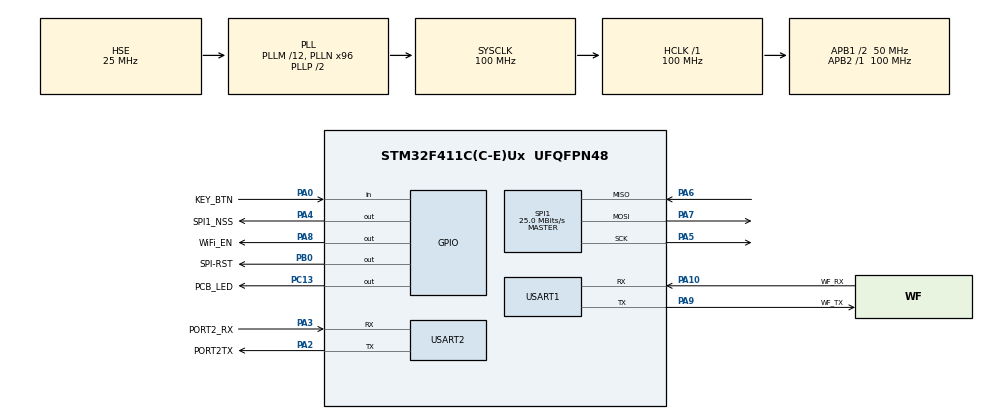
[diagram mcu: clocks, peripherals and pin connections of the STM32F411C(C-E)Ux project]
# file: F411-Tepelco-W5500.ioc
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Mcu.Family=STM32F4
Mcu.Name=STM32F411C(C-E)Ux
Mcu.Package=UFQFPN48
NVIC.PriorityGroup=NVIC_PRIORITYGROUP_4
NVIC.TIM2_IRQn=true\:0\:0\:false\:false\:true\:true\:true\:true
NVIC.USART1_IRQn=true\:0\:0\:false\:false\:true\:true\:true\:true
NVIC.USART2_IRQn=true\:0\:0\:false\:false\:true\:true\:true\:true
PA0-WKUP.GPIO_Label=KEY_BTN
PA0-WKUP.Signal=GPIO_Input
PA10.GPIO_Label=WF_RX
PA10.Mode=Asynchronous
PA10.Signal=USART1_RX
PA13.Mode=Trace_Asynchronous_SW
PA13.Signal=SYS_JTMS-SWDIO
PA14.Mode=Trace_Asynchronous_SW
PA14.Signal=SYS_JTCK-SWCLK
PA2.GPIO_Label=PORT2TX
PA2.Mode=Asynchronous
PA2.Signal=USART2_TX
PA3.GPIO_Label=PORT2_RX
PA3.Mode=Asynchronous
PA3.Signal=USART2_RX
PA4.GPIO_Label=SPI1_NSS
PA4.GPIO_Speed=GPIO_SPEED_FREQ_VERY_HIGH
PA4.PinState=GPIO_PIN_SET
PA4.Signal=GPIO_Output
PA5.Mode=Full_Duplex_Master
PA5.Signal=SPI1_SCK
PA6.Mode=Full_Duplex_Master
PA6.Signal=SPI1_MISO
PA7.Mode=Full_Duplex_Master
PA7.Signal=SPI1_MOSI
PA8.GPIO_Label=WiFi_EN
PA8.PinState=GPIO_PIN_SET
PA8.Signal=GPIO_Output
PA9.GPIO_Label=WF_TX
PA9.Mode=Asynchronous
PA9.Signal=USART1_TX
PB0.GPIO_Label=SPI-RST
PB0.GPIO_Speed=GPIO_SPEED_FREQ_VERY_HIGH
PB0.PinState=GPIO_PIN_SET
PB0.Signal=GPIO_Output
PB3.Mode=Trace_Asynchronous_SW
PB3.Signal=SYS_JTDO-SWO
PC13-ANTI_TAMP.GPIO_Label=PCB_LED
PC13-ANTI_TAMP.GPIO_ModeDefaultOutputPP=GPIO_MODE_OUTPUT_PP
PC13-ANTI_TAMP.GPIO_PuPd=GPIO_NOPULL
PC13-ANTI_TAMP.PinState=GPIO_PIN_RESET
PC13-ANTI_TAMP.Signal=GPIO_Output
PC14-OSC32_IN.Mode=LSE-External-Oscillator
PC14-OSC32_IN.Signal=RCC_OSC32_IN
PC15-OSC32_OUT.Mode=LSE-External-Oscillator
PC15-OSC32_OUT.Signal=RCC_OSC32_OUT
PH0\ -\ OSC_IN.Mode=HSE-External-Oscillator
PH0\ -\ OSC_IN.Signal=RCC_OSC_IN
PH1\ -\ OSC_OUT.Mode=HSE-External-Oscillator
PH1\ -\ OSC_OUT.Signal=RCC_OSC_OUT
ProjectManager.HeapSize=0x200
ProjectManager.StackSize=0x400
ProjectManager.TargetToolchain=STM32CubeIDE
RCC.48MHZClocksFreq_Value=50000000
RCC.AHBFreq_Value=100000000
RCC.APB1CLKDivider=RCC_HCLK_DIV2
RCC.APB1Freq_Value=50000000
RCC.APB1TimFreq_Value=100000000
RCC.APB2Freq_Value=100000000
RCC.APB2TimFreq_Value=100000000
RCC.CortexFreq_Value=100000000
RCC.HCLKFreq_Value=100000000
RCC.HSE_VALUE=25000000
RCC.HSI_VALUE=16000000
RCC.PLLM=12
RCC.PLLN=96
RCC.PLLSourceVirtual=RCC_PLLSOURCE_HSE
RCC.SYSCLKFreq_VALUE=100000000
RCC.SYSCLKSource=RCC_SYSCLKSOURCE_PLLCLK
RCC.VCOOutputFreq_Value=200000000
SPI1.BaudRatePrescaler=SPI_BAUDRATEPRESCALER_4
SPI1.CalculateBaudRate=25.0 MBits/s
SPI1.Direction=SPI_DIRECTION_2LINES
SPI1.Mode=SPI_MODE_MASTER
SPI1.VirtualType=VM_MASTER
TIM2.AutoReloadPreload=TIM_AUTORELOAD_PRELOAD_ENABLE
TIM2.Channel-Output\ Compare1\ No\ Output=TIM_CHANNEL_1
TIM2.OCMode_1=TIM_OCMODE_INACTIVE
TIM2.Period=100
TIM2.Prescaler=100
USART1.VirtualMode=VM_ASYNC
USART2.VirtualMode=VM_ASYNC
VP_TIM2_VS_ClockSourceINT.Mode=Internal
VP_TIM2_VS_OPM.Mode=OPM_bit
VP_TIM2_VS_no_output1.Mode=Output Compare1 No Output
board=custom

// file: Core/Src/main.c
/* USER CODE BEGIN Header */
/**
  ******************************************************************************
  * @file           : main.c
  * @brief          : Main program body
  ******************************************************************************
  * @attention
  *
  * Copyright (c) 2022 STMicroelectronics.
  * All rights reserved.
  *
  * This software is licensed under terms that can be found in the LICENSE file
  * in the root directory of this software component.
  * If no LICENSE file comes with this software, it is provided AS-IS.
  *
  ******************************************************************************
  */
/* USER CODE END Header */
#include "main.h"

/* USER CODE BEGIN Includes */

#include "ESP8266_Chelo.h"
#include "ModBUS_Chelo.h"
#include "STR_Chelo.h"
#include "ETH_W5500.h"
#include "string.h"
#include "stdio.h"
#include "http.h"

/* USER CODE END Includes */

/* USER CODE BEGIN PTD */
#define TOK 1
#define FIND 0
#define SERVIDOR 1
#define CLIENTE 0
/* USER CODE END PTD */

/* USER CODE BEGIN PM */
#define ITM_Port32(n)   (*((volatile unsigned long *)(0xE0000000+4*n)))
/* USER CODE END PM */

SPI_HandleTypeDef hspi1;

TIM_HandleTypeDef htim2;

UART_HandleTypeDef huart1;
UART_HandleTypeDef huart2;

/* USER CODE BEGIN PV */
uint32_t ms_ticks=0,
		 min_ticks=0;

struct W5500_SPI ETH; 		// Instancia de la comunicación Ethernet
struct W5500_SPY ETH_SPY; 	// Instancia de la comunicación Ethernet
struct WIFI wf;				// Instancia WiFi
struct MBUS mb_eth;			// Instancia Ethernet
struct MBUS mb_wf;			// Instancia Wi-Fi
//struct LoRa lr;				// Instancia LoRa
uint8_t error=0;

char post[512];
char body[512];
char ENDPOINT[]="/logdata",
     SERVER_IP[]="192.168.0.24",
     PORT[]="8000";

uint8_t ETH_DBG_EN=0,ETH_DBG_SER_EN=1;
uint8_t WF_SND_FLAG=0;
int wf_snd_flag_ticks=0;

uint32_t REG[254];			//Registros para ver ModBUS

// ****** Begin Firmware Registers ****** //

uint16_t W5500_socket0_STATUS ;

// ****** End Firmware Registers ****** //

// ****** Begin Socket Memory assignment ****** //
uint16_t 	S0_get_size = 0,
			S0_get_offset = 0,
			S0_RX_RD = 0,
			S0_get_start_address = 0,
			tx_mem_pointer=0,
			rx_mem_pointer=0,
			destination_addr=0,
			left_size=0,
			upper_size=0,
			S0_READ_RX_RD=0,
			S0_bf_rcv_offset=0,

			Sn_TX_WR=0,
			get_offset=0,
			get_free_size=0,
			get_start_address=0,
			source_addr=0,
			send_size=0,
			datos[]={1010,2010,3010,4010,5010,6010,7010,8010,9010,10010,11010,12010,13010,14010,15010,16010};

// ****** End Socket Memory assignment ****** //
uint8_t spi_Data[64],
		spi_no_debug=0,
		_w_answer=0,
		pos_decimal[16];

uint8_t ESP_REinit=0,			//Conteo de intentos de incializacion
		ESP_InitF=0,			//Flag de error por no encontrar la sentencia
		ESP_HW_Init=0,
		EN_UART1_TMR=0,
		EN_UART2_TMR=0,
		EN_USART1_TMR=0,
		FLAG_TIMEOUT=0,
		FLAG_UART1=0,
		FLAG_UART2=0,
		eth_reset=0,
		resultado=0,
		error_rxdata=0,
		debug_ser=1,
		esp_restart=0,
		conexion,
		asc=0,

		//--------debug----//
		CP_ready=0,
		CP_ai=0;
		SPI_READ_EN=0;

char	UART_RX_vect[512],
		UART2_RX_vect[512],
		datarx_uart1[512],
		datarx1[2],
		UART_RX_vect_hld[512],
		UART2_RX_vect_hld[512],
		WIFI_NET[]="vodafoneC868",//WIFI_NET[]="Fibertel WiFi967 2.4GHz",//WIFI_NET[]="PLC_DEV",//
		WIFI_PASS[]="21_09_24_bcn",//WIFI_PASS[]="0042880756",//WIFI_PASS[]="12345678",//
		TCP_SERVER[]="192.168.0.24",//TCP_SERVER[]="192.168.0.65",//TCP_SERVER[]="192.168.0.102",//TCP_SERVER[]="192.168.0.47",
		TCP_PORT[]="8000",//TCP_PORT[]="502",
		TCP_SERVER_LOCAL[]="192.168.0.43",//TCP_SERVER_LOCAL[]="192.168.0.33",//TCP_SERVER[]="192.168.0.47",
		TCP_SERVER_LOCAL_GWY[]="192.168.0.99",//TCP_SERVER[]="192.168.0.47",
		TCP_SERVER_LOCAL_MSK[]="255.255.255.0",//TCP_SERVER[]="192.168.0.47",
		TCP_PORT_LOCAL[]="502",
		RX2[]="RX.",
		//RX[512],
		CMP_VECT[]="\0",
	    TESTA[32],
		TESTB[32],
		TESTC[32],
		UART_RX_byte[2];
		UART2_RX_byte[2];

int UART_RX_items=0,
	UART2_RX_items=0,
    ESP_ticks=0,
	MBUS_ticks=0,
	MB_TOUT_ticks=0,
	items_rx_debug=0,
    ticks=0,
	ntesta=17,
	ntestb=4,
	ntestc=0,
	postesta=0,
	funcion=0,
	uart1pass=0,
	USART1_ticks=0,
	FLAG_USART1=0,
	chr_pos=0,
	items_rx=0,
	ESPstate=0,
	UART_RX_pos=0;
	UART2_RX_pos=0;

long dbgn=0;

enum {
	TEPELCO,
	TEST_1,
	TEST_2
};
/* USER CODE END PV */

void SystemClock_Config(void);
static void MX_GPIO_Init(void);
static void MX_SPI1_Init(void);
static void MX_TIM2_Init(void);
static void MX_USART1_UART_Init(void);
static void MX_USART2_UART_Init(void);
/* USER CODE BEGIN PFP */
uint8_t ESP8266_HW_Init(UART_HandleTypeDef *);
void Actualizar_RXdata(int );
void BorrarVect(void);
/* USER CODE END PFP */

int main(void)
{
  /* USER CODE BEGIN 1 */
	//----------------------- ETHERNET W5500 Environment-------------------------//
	//	GATEWAY ADDRESS
		ETH.GAR[0]=192;
		ETH.GAR[1]=168;
		ETH.GAR[2]=0;
		ETH.GAR[3]=1;
	//	SUBNET MASK
		ETH.SUBR[0]=255;
		ETH.SUBR[1]=255;
		ETH.SUBR[2]=255;
		ETH.SUBR[3]=0;
	//	MAC ADDRESS
		ETH.SHAR[0]=0x00;
		ETH.SHAR[1]=0x08;
		ETH.SHAR[2]=0xDC;
		ETH.SHAR[3]=0x00;
		ETH.SHAR[4]=0xC0;
		ETH.SHAR[5]=0x03;

	//	IP ADDRESS
		ETH.SIPR[0]=192;
		ETH.SIPR[1]=168;
		ETH.SIPR[2]=0;
		ETH.SIPR[3]=34,//ETH.SIPR[3]=34,
	//  Socket RX memory
		ETH.RMSR=0x55;
	//  Socket TX memory
		ETH.TMSR=0x55;
	//  S0 Port Number
		ETH.S_PORT[0]=0x01; //01
		ETH.S_PORT[1]=0xF6; //f6
	//	S0 Client IP ADDRESS
		ETH.S_DIPR[0]=192;
		ETH.S_DIPR[1]=168;
		ETH.S_DIPR[2]=0;
		ETH.S_DIPR[3]=3;
	//	S0 Client IP ADDRESS
		ETH.S_DPORT[0]=0x01;
		ETH.S_DPORT[1]=0xF6;

		ETH.gS_RX_BASE = 0x0000;
		ETH.gS_RX_MASK = 0x07FF;
		ETH.gS1_RX_BASE = 0x6800;
		ETH.gS1_RX_MASK = 0x07FF;
		ETH.gS2_RX_BASE = 0x7000;
		ETH.gS2_RX_MASK = 0x07FF;
		ETH.gS3_RX_BASE = 0x7800;
		ETH.gS3_RX_MASK = 0x07FF;
		ETH.gS_TX_BASE = 0x0000;
		ETH.gS_TX_MASK = 0x07FF;
		ETH.gS1_TX_BASE = 0x4800;
		ETH.gS1_TX_MASK = 0x07FF;
		ETH.gS2_TX_BASE = 0x5000;
		ETH.gS2_TX_MASK = 0x07FF;
		ETH.gS3_TX_BASE = 0x5800;
		ETH.gS3_TX_MASK = 0x07FF;

		ETH.S_ENserver = 0;			//Actúa como servidor S0_ENserver=1 o cliente S0_ENserver=0

		spi_no_debug=1;
		ETH.NSS_PORT=GPIOA;
		ETH.NSS_PIN=GPIO_PIN_4;
		ETH.RST_PORT=GPIOB;
		ETH.RST_PIN=GPIO_PIN_0;
		ETH.SPI= &hspi1;
	  //----------------------- ETHERNET W5500 Environment-------------------------//
	  //----------------------- WIFI ------------------------//
 	  	Inicializar(&wf); 									//Borra todos los registros de la estructura
		strcpy(wf._WF_Net, WIFI_NET);						//Nombre de la red WIFI  a conectar Fibertel WiFi967 2.4GHz
		strcpy(wf._WF_Pass, WIFI_PASS);						//Password de la red WIFI
		strcpy(wf._TCP_Remote_Server_IP, TCP_SERVER);		//char _TCP_Remote_Server_IP[16];		//IP del Servidor TCP
		strcpy(wf._TCP_Remote_Server_Port, TCP_PORT);		//char _TCP_Remote_Server_Port[16];			//Puerto del Servidor TCP
		strcpy(wf._TCP_Local_Server_IP, TCP_SERVER_LOCAL);
		strcpy(wf._TCP_Local_Server_GWY, TCP_SERVER_LOCAL_GWY);
		strcpy(wf._TCP_Local_Server_MSK, TCP_SERVER_LOCAL_MSK);
		strcpy(wf._TCP_Local_Server_Port, TCP_PORT_LOCAL);
		wf._TCP_Local_Server_EN=0;							//Habilito el Servidor Local
		wf._data2SND[0]=0x00;//strcpy(wf._data2SND,"01;03;00;00;00;0A;C5;CD");//strcpy(wf._data2SND,"20;352;52#");
		wf._data2SND[1]=0x00;
		wf._data2SND[2]=0x00;
		wf._data2SND[3]=0x00;
		wf._data2SND[4]=0x00;
		wf._data2SND[5]=0x06;
		wf._data2SND[6]=0x01;
		wf._data2SND[7]=0x03;
		wf._data2SND[8]=0x00;//strcpy(wf._data2SND,"01;03;00;00;00;0A;C5;CD");//strcpy(wf._data2SND,"20;352;52#");
		wf._data2SND[9]=0x00;
		wf._data2SND[10]=0x00;
		wf._data2SND[11]=0x0A;
		wf._data2SND[12]=0x00;
		wf._data2SND[13]=0x33;
		wf._data2SND[14]=0x34;
		wf._data2SND[15]=0x35;
		wf._n_D2SND=12;
		wf._estado_conexion=100;//Si no se define no arranca	//wf._estado_conexion=1;					//Arranco en WiFi Desconectado
		wf._automatizacion=WF_CONNECT_TCP;//wf._automatizacion=WF_SEND;
		wf._DBG_EN=1;
		wf._NO_IP=1;
		wf.RESET_PORT=GPIOA;
		wf.RESET_PIN=GPIO_PIN_8;
	 //----------------------- WIFI ------------------------//

	 //---------------------- ModBUS -----------------------//
		ModBUS_Config(&mb_eth);		//ETHERNET como cliente TCP envía  ModBUS
		mb_eth._mode = CLIENTE;
		ModBUS_Config(&mb_wf);		//WIFI como servidor TCP, recibe comadno ModBUS
		mb_wf._mode = CLIENTE;
		ModBUS_F03_Assign(&mb_wf,3,0xAA55);
		pos_decimal[0]=1;
		pos_decimal[1]=1;
		pos_decimal[2]=1;
		pos_decimal[3]=1;
		pos_decimal[4]=1;
		pos_decimal[5]=1;
		pos_decimal[6]=1;
		pos_decimal[7]=1;
		pos_decimal[8]=1;
		pos_decimal[9]=1;
		pos_decimal[10]=1;
		pos_decimal[11]=1;
		pos_decimal[12]=1;
		pos_decimal[13]=1;
		pos_decimal[14]=1;
		pos_decimal[15]=1;

	 //---------------------- ModBUS -----------------------//
  /* USER CODE END 1 */

  /* MCU Configuration--------------------------------------------------------*/

  /* Reset of all peripherals, Initializes the Flash interface and the Systick. */
  HAL_Init();

  /* Configure the system clock */
  SystemClock_Config();

  /* USER CODE BEGIN SysInit */
  SysTick_Config(SystemCoreClock/1000);
  /* USER CODE END SysInit */

  /* Initialize all configured peripherals */
  MX_GPIO_Init();
  MX_SPI1_Init();
  MX_TIM2_Init();
  MX_USART1_UART_Init();
  MX_USART2_UART_Init();
  /* USER CODE BEGIN 2 */

     ITM0_Write("\r\n INICIO OK\r\n",strlen("\r\n INICIO OK\r\n"));
     HAL_UART_Transmit_IT(&huart2,"\r\n INICIO OK \r\n",strlen("\r\n INICIO OK \r\n"));
	 HW_RESET(&wf);
	 if (wf._DBG_EN) ITM0_Write("\r\n RESET ESP8266 \r\n",strlen("\r\n RESET ESP8266 \r\n"));
	 HAL_UART_Receive_IT(&huart1,(uint8_t *)UART_RX_byte,1);
	 if (ETH_DBG_EN)ITM0_Write("\r\n SET-UP W5500 \r\n",strlen("\r\n SET-UP W5500 \r\n"));

     SPI_ETH_PHY_RESET(&ETH);
     HAL_Delay(800);
     eth_init(&ETH);
     SPI_ETH_SNIFF(&ETH_SPY, &ETH);
     HAL_Delay(800);
   	 eth_socket_init(&ETH,S0_REG);
   	 SPI_ETH_SNIFF(&ETH_SPY, &ETH);
	 uint16_t b=0;
	 uint8_t spi_Data[2];
	 b = SPI_ETH_REG(&ETH, S_TX_WR, S0_REG ,SPI_READ, spi_Data,2);
	 eth_wr_SOCKET_MODE(&ETH,S0_REG,MODE_TCP);
   	 SPI_ETH_REG(&ETH, S_DIPR, S0_REG,SPI_WRITE, ETH.S_DIPR,4);									// client
   	 ITM0_Write("\r\nETH-W5500-SOCK0 TCP REMOTE PORT TO CONNECT\r\n",strlen("\r\nETH-W5500-SOCK0 TCP REMOTE PORT TO CONNECT\r\n"));									// client
   	 SPI_ETH_REG(&ETH, S_DPORT, S0_REG,SPI_WRITE, ETH.S_DPORT,2);									// client
   	 ITM0_Write("\r\nETH-W5500-SOCK0 TCP PORT SET\r\n",strlen("\r\nETH-W5500-SOCK0 TCP PORT SET\r\n"));						//same for server and client
   	 SPI_ETH_SNIFF(&ETH_SPY, &ETH);
   	 eth_wr_SOCKET_CMD(&ETH, S0_REG,OPEN );

   	 HAL_Delay(1000);
   	 SPI_ETH_SNIFF(&ETH_SPY, &ETH);

	 //SPI_READ_EN=1;
   	 //------------------------ RUN ESP -----------------------------------//
     if(ESP8266_HW_Init(&huart1)==1)
     {
		  ESP_HW_Init=1;
		  if (wf._DBG_EN) ITM0_Write("\r\n ESP HW Init OK\r\n",strlen("\r\n ESP HW Init OK\r\n"));
		  HAL_UART_Transmit_IT(&huart2,"\r\n ESP HW Init OK\r\n",strlen("\r\n ESP HW Init OK\r\n"));
     }
     else
     {

    	 HW_RESET(&wf);
		 ESP_REinit=0;
			  if(ESP8266_HW_Init(&huart1)==1)
				  {
					  ESP_HW_Init=1;
					  if (wf._DBG_EN) ITM0_Write("\r\n ESP HW Init OK\r\n",strlen("\r\n ESP HW Init OK\r\n"));
					  HAL_UART_Transmit_IT(&huart2,"\r\n ESP HW Init2 OK\r\n",strlen("\r\n ESP HW Init2 OK\r\n"));
				  }
				  else
				  {
					  ESP_HW_Init=0;
					  if (wf._DBG_EN)  ITM0_Write("\r\n ESP HW Init Fail\r\n",strlen("\r\n ESP HW Init Fail\r\n"));
					  HAL_UART_Transmit_IT(&huart2,"\r\n ESP HW Fail\r\n",strlen("\r\n ESP HW Fail\r\n"));
				  }
     }
     //------------------------ RUN ESP -----------------------------------//

     HAL_Delay(1000);
  /* USER CODE END 2 */

  /* Infinite loop */
  while (1)
  {

    /* USER CODE BEGIN 3 */
		 SPI_READ_EN=1;
		  //----------------INSTRUCCIONS POR PUERTO SERIE---------------------

		  //----------------INSTRUCCIONS POR PUERTO SERIE---------------------

		  /**************[ INICIO PIDO ENVIAR DATOS ]**************/

		  	  if (ESP_HW_Init==1)
		  	  {
		  			if((WF_SND_FLAG==1)&&(wf._TCP_Local_Server_EN==0)&&(wf._estado_conexion>=609)&&(ETH.S_data_available))
		  			{	ETH.S_data_available=0;
		  				wf_snd_flag_ticks=0;
		  				WF_SND_FLAG=0;
		  				HAL_UART_Transmit_IT(&huart2,"\r\n ENTER TO SEND DATA \r\n",strlen("\r\n ENTER TO SEND DATA \r\n"));
		  				HAL_GPIO_TogglePin(GPIOC, GPIO_PIN_13);
		  				ITM0_Write("\r\n#RED#WF-SE GENERA INFO Y ENVIA\r\n",strlen("\r\n#RED#WF-SE GENERA INFO Y ENVIA\r\n"));

		  				for(uint8_t i=0;i<=16;i++)
		  				{
		  					datos[i]=ModBUS_F03_Read(&mb_eth,i);
		  				}

		  				if(httpPOST2(ENDPOINT, SERVER_IP,PORT,&datos,&pos_decimal,16,TEST_2,post, body, 512))
		  				{
  							CopiaVector(wf._data2SND,post,strlen(post),0,'A');
  							wf._n_D2SND=strlen(post);
  							if(wf._automatizacion < WF_SEND)		// Send only with automation sent diasabled
  							{
  								EnviarDatos(&wf);
  								wf._estado_conexion=TCP_SND_EN_CURSO;
  							}
		  				}

		  				/*if( httpPOST(	ENDPOINT, SERVER_IP,PORT,
		  								ModBUS_F03_Read(&mb_eth,0),
		  								ModBUS_F03_Read(&mb_eth,1),
		  								ModBUS_F03_Read(&mb_eth,2),
		  								ModBUS_F03_Read(&mb_eth,3),
		  								ModBUS_F03_Read(&mb_eth,4),
		  								ModBUS_F03_Read(&mb_eth,5),
		  								ModBUS_F03_Read(&mb_eth,6),
		  								ModBUS_F03_Read(&mb_eth,7),
		  								ModBUS_F03_Read(&mb_eth,8),
										ModBUS_F03_Read(&mb_eth,9),
										TEST_2,//ModBUS_F03_Read(&mb_eth,9),TEPELCO,
		  								post, body, 512))

		  				{
		  							CopiaVector(wf._data2SND,post,strlen(post),0,'A');
		  							wf._n_D2SND=strlen(post);
		  							if(wf._automatizacion < WF_SEND)		// Send only with automation sent diasabled
		  							{
		  								EnviarDatos(&wf);
		  								wf._estado_conexion=TCP_SND_EN_CURSO;
		  							}
		  				}*/
		  			}
		  	  }
		  /**************[ FIN PIDO ENVIAR DATOS ]**************/

		  		if ((FLAG_UART1==1)||(FLAG_TIMEOUT==1))  //Si recibí datos o me fui por TimeOUT
		  		{
		  			if(FLAG_UART1==1)
		  				{
		  					CopiaVector(wf._uartRCVD,UART_RX_vect_hld,UART_RX_items,1,CMP_VECT);
		  					FLAG_UART1=0;

		  						if (error_rxdata==3)
		  						{
		  							error_rxdata=0;
		  						}
		  						if (error_rxdata==1)
		  						{
		  							error_rxdata=5;
		  							error_rxdata=0;
		  						}
		  				}
		  			if(FLAG_TIMEOUT==1)
		  					{
		  						FLAG_TIMEOUT=0;
		  					}

		  			if (ESP_HW_Init==1) //Si el módulo se inició correctamente
		  				{
		  					/*************** Copio y proceso info recibida ***************/
		  					wf._n_orig=UART_RX_items;
		  					CopiaVector(wf._uartRCVD,UART_RX_vect_hld,UART_RX_items,1,CMP_VECT);
		  					resultado=AT_ESP8266_ND(&wf);

		  					/*************** Si recibo datos y estan correctos me fijo que son ***************/

		  					if ((wf._new_data_rcv==1)&&(wf._estado_rcv_data==99))
		  					{

		  						CopiaVector(mb_wf._MBUS_RCVD,wf._dataRCV,wf._n_dataRCV,0,'A');
		  						mb_wf._n_MBUS_RCVD=wf._n_dataRCV;

		  						ModBUS(&mb_wf);

		  						CopiaVector(wf._data2SND,mb_wf._MBUS_2SND,mb_wf._n_MBUS_2SND,0,'A');
		  						wf._n_D2SND=mb_wf._n_MBUS_2SND;
		  						wf._new_data_rcv=0;//
		  						wf._send_data=1;
		  					}else
		  						{
		  							// DATA ERRONEA NO SE PROCESA
		  						}
		  					}

		  		}

		  		if (ESP_HW_Init==1) //Si el módulo se inició correctamente
		  			{
		  				conexion=WiFi_Conn_ND(&wf,&huart1,1);	//Tiene que ir en el main el chequeo es constante

		  			}
		  		if (esp_restart==1) //WRNNG Hardcoded RESET WIFI
		  			{

		  				HAL_UART_Transmit_IT(&huart2,"\r\n ESP HW Resetting \r\n",strlen("\r\n ESP HW Resetting \r\n"));
		  				HW_RESET(&wf);
		  				HAL_Delay(5000);//210419
		  				esp_restart=0;
		  			}
		  		if(eth_reset==1)
		  		{

		  		  SPI_ETH_PHY_RESET(&ETH);
		  		  HAL_UART_Transmit_IT(&huart2,"\r\n PHY RESET \r\n",strlen("\r\n PHY RESET \r\n"));
		  	      HAL_Delay(800);
		  	      eth_init(&ETH);
		  	      HAL_UART_Transmit_IT(&huart2,"\r\n ETH INIT \r\n",strlen("\r\n ETH INIT \r\n"));
		  	      SPI_ETH_SNIFF(&ETH_SPY, &ETH);
		  	      HAL_Delay(800);
		  	   	  eth_socket_init(&ETH,S0_REG);
		  	   	  HAL_UART_Transmit_IT(&huart2,"\r\n ETH SOCKET INIT \r\n",strlen("\r\n ETH SOCKET INIT \r\n"));

		  		 uint16_t b=0;
		  		 uint8_t spi_Data[2];
		  		 b = SPI_ETH_REG(&ETH, S_TX_WR, S0_REG ,SPI_READ, spi_Data,2);

		  		 eth_wr_SOCKET_MODE(&ETH,S0_REG,MODE_TCP);
		  	   	 SPI_ETH_REG(&ETH, S_DIPR, S0_REG,SPI_WRITE, ETH.S_DIPR,4);									// client
		  	   	 ITM0_Write("\r\nETH-W5500-SOCK0 TCP REMOTE PORT TO CONNECT\r\n",strlen("\r\nETH-W5500-SOCK0 TCP REMOTE PORT TO CONNECT\r\n"));									// client
		  	   	 SPI_ETH_REG(&ETH, S_DPORT, S0_REG,SPI_WRITE, ETH.S_DPORT,2);									// client
		  	   	 ITM0_Write("\r\nETH-W5500-SOCK0 TCP PORT SET\r\n",strlen("\r\nETH-W5500-SOCK0 TCP PORT SET\r\n"));						//same for server and client

		  	   	 HAL_Delay(800);
		  	   	  eth_wr_SOCKET_CMD(&ETH, S0_REG ,OPEN );
		  	   	  HAL_UART_Transmit_IT(&huart2,"\r\n ETH OPEN \r\n",strlen("\r\n ETH OPEN \r\n"));
		  	   	  ETH.ETH_WDG=0;
		  	   	  eth_reset=0;
		  		}

	  }

  /* USER CODE END 3 */
}

void SystemClock_Config(void)
{
  RCC_OscInitTypeDef RCC_OscInitStruct = {0};
  RCC_ClkInitTypeDef RCC_ClkInitStruct = {0};

  /** Configure the main internal regulator output voltage
  */
  __HAL_RCC_PWR_CLK_ENABLE();
  __HAL_PWR_VOLTAGESCALING_CONFIG(PWR_REGULATOR_VOLTAGE_SCALE1);

  /** Initializes the RCC Oscillators according to the specified parameters
  * in the RCC_OscInitTypeDef structure.
  */
  RCC_OscInitStruct.OscillatorType = RCC_OSCILLATORTYPE_HSE;
  RCC_OscInitStruct.HSEState = RCC_HSE_ON;
  RCC_OscInitStruct.PLL.PLLState = RCC_PLL_ON;
  RCC_OscInitStruct.PLL.PLLSource = RCC_PLLSOURCE_HSE;
  RCC_OscInitStruct.PLL.PLLM = 12;
  RCC_OscInitStruct.PLL.PLLN = 96;
  RCC_OscInitStruct.PLL.PLLP = RCC_PLLP_DIV2;
  RCC_OscInitStruct.PLL.PLLQ = 4;
  if (HAL_RCC_OscConfig(&RCC_OscInitStruct) != HAL_OK)
  {
    Error_Handler();
  }

  /** Initializes the CPU, AHB and APB buses clocks
  */
  RCC_ClkInitStruct.ClockType = RCC_CLOCKTYPE_HCLK|RCC_CLOCKTYPE_SYSCLK
                              |RCC_CLOCKTYPE_PCLK1|RCC_CLOCKTYPE_PCLK2;
  RCC_ClkInitStruct.SYSCLKSource = RCC_SYSCLKSOURCE_PLLCLK;
  RCC_ClkInitStruct.AHBCLKDivider = RCC_SYSCLK_DIV1;
  RCC_ClkInitStruct.APB1CLKDivider = RCC_HCLK_DIV2;
  RCC_ClkInitStruct.APB2CLKDivider = RCC_HCLK_DIV1;

  if (HAL_RCC_ClockConfig(&RCC_ClkInitStruct, FLASH_LATENCY_3) != HAL_OK)
  {
    Error_Handler();
  }
}

static void MX_SPI1_Init(void)
{

  /* SPI1 parameter configuration*/
  hspi1.Instance = SPI1;
  hspi1.Init.Mode = SPI_MODE_MASTER;
  hspi1.Init.Direction = SPI_DIRECTION_2LINES;
  hspi1.Init.DataSize = SPI_DATASIZE_8BIT;
  hspi1.Init.CLKPolarity = SPI_POLARITY_LOW;
  hspi1.Init.CLKPhase = SPI_PHASE_1EDGE;
  hspi1.Init.NSS = SPI_NSS_SOFT;
  hspi1.Init.BaudRatePrescaler = SPI_BAUDRATEPRESCALER_4;
  hspi1.Init.FirstBit = SPI_FIRSTBIT_MSB;
  hspi1.Init.TIMode = SPI_TIMODE_DISABLE;
  hspi1.Init.CRCCalculation = SPI_CRCCALCULATION_DISABLE;
  hspi1.Init.CRCPolynomial = 10;
  if (HAL_SPI_Init(&hspi1) != HAL_OK)
  {
    Error_Handler();
  }

}

static void MX_TIM2_Init(void)
{

  TIM_ClockConfigTypeDef sClockSourceConfig = {0};
  TIM_MasterConfigTypeDef sMasterConfig = {0};
  TIM_OC_InitTypeDef sConfigOC = {0};

  htim2.Instance = TIM2;
  htim2.Init.Prescaler = 100;
  htim2.Init.CounterMode = TIM_COUNTERMODE_UP;
  htim2.Init.Period = 100;
  htim2.Init.ClockDivision = TIM_CLOCKDIVISION_DIV1;
  htim2.Init.AutoReloadPreload = TIM_AUTORELOAD_PRELOAD_ENABLE;
  if (HAL_TIM_Base_Init(&htim2) != HAL_OK)
  {
    Error_Handler();
  }
  sClockSourceConfig.ClockSource = TIM_CLOCKSOURCE_INTERNAL;
  if (HAL_TIM_ConfigClockSource(&htim2, &sClockSourceConfig) != HAL_OK)
  {
    Error_Handler();
  }
  if (HAL_TIM_OC_Init(&htim2) != HAL_OK)
  {
    Error_Handler();
  }
  if (HAL_TIM_OnePulse_Init(&htim2, TIM_OPMODE_SINGLE) != HAL_OK)
  {
    Error_Handler();
  }
  sMasterConfig.MasterOutputTrigger = TIM_TRGO_RESET;
  sMasterConfig.MasterSlaveMode = TIM_MASTERSLAVEMODE_DISABLE;
  if (HAL_TIMEx_MasterConfigSynchronization(&htim2, &sMasterConfig) != HAL_OK)
  {
    Error_Handler();
  }
  sConfigOC.OCMode = TIM_OCMODE_INACTIVE;
  sConfigOC.Pulse = 0;
  sConfigOC.OCPolarity = TIM_OCPOLARITY_HIGH;
  sConfigOC.OCFastMode = TIM_OCFAST_DISABLE;
  if (HAL_TIM_OC_ConfigChannel(&htim2, &sConfigOC, TIM_CHANNEL_1) != HAL_OK)
  {
    Error_Handler();
  }

}

static void MX_USART1_UART_Init(void)
{

  huart1.Instance = USART1;
  huart1.Init.BaudRate = 115200;
  huart1.Init.WordLength = UART_WORDLENGTH_8B;
  huart1.Init.StopBits = UART_STOPBITS_1;
  huart1.Init.Parity = UART_PARITY_NONE;
  huart1.Init.Mode = UART_MODE_TX_RX;
  huart1.Init.HwFlowCtl = UART_HWCONTROL_NONE;
  huart1.Init.OverSampling = UART_OVERSAMPLING_16;
  if (HAL_UART_Init(&huart1) != HAL_OK)
  {
    Error_Handler();
  }

}

static void MX_USART2_UART_Init(void)
{

  huart2.Instance = USART2;
  huart2.Init.BaudRate = 115200;
  huart2.Init.WordLength = UART_WORDLENGTH_8B;
  huart2.Init.StopBits = UART_STOPBITS_1;
  huart2.Init.Parity = UART_PARITY_NONE;
  huart2.Init.Mode = UART_MODE_TX_RX;
  huart2.Init.HwFlowCtl = UART_HWCONTROL_NONE;
  huart2.Init.OverSampling = UART_OVERSAMPLING_16;
  if (HAL_UART_Init(&huart2) != HAL_OK)
  {
    Error_Handler();
  }

}

static void MX_GPIO_Init(void)
{
  GPIO_InitTypeDef GPIO_InitStruct = {0};

  /* GPIO Ports Clock Enable */
  __HAL_RCC_GPIOC_CLK_ENABLE();
  __HAL_RCC_GPIOH_CLK_ENABLE();
  __HAL_RCC_GPIOA_CLK_ENABLE();
  __HAL_RCC_GPIOB_CLK_ENABLE();

  /*Configure GPIO pin Output Level */
  HAL_GPIO_WritePin(PCB_LED_GPIO_Port, PCB_LED_Pin, GPIO_PIN_RESET);

  /*Configure GPIO pin Output Level */
  HAL_GPIO_WritePin(GPIOA, SPI1_NSS_Pin|WiFi_EN_Pin, GPIO_PIN_SET);

  /*Configure GPIO pin Output Level */
  HAL_GPIO_WritePin(SPI_RST_GPIO_Port, SPI_RST_Pin, GPIO_PIN_SET);

  /*Configure GPIO pin : PCB_LED_Pin */
  GPIO_InitStruct.Pin = PCB_LED_Pin;
  GPIO_InitStruct.Mode = GPIO_MODE_OUTPUT_PP;
  GPIO_InitStruct.Pull = GPIO_NOPULL;
  GPIO_InitStruct.Speed = GPIO_SPEED_FREQ_LOW;
  HAL_GPIO_Init(PCB_LED_GPIO_Port, &GPIO_InitStruct);

  /*Configure GPIO pin : KEY_BTN_Pin */
  GPIO_InitStruct.Pin = KEY_BTN_Pin;
  GPIO_InitStruct.Mode = GPIO_MODE_INPUT;
  GPIO_InitStruct.Pull = GPIO_NOPULL;
  HAL_GPIO_Init(KEY_BTN_GPIO_Port, &GPIO_InitStruct);

  /*Configure GPIO pin : SPI1_NSS_Pin */
  GPIO_InitStruct.Pin = SPI1_NSS_Pin;
  GPIO_InitStruct.Mode = GPIO_MODE_OUTPUT_PP;
  GPIO_InitStruct.Pull = GPIO_NOPULL;
  GPIO_InitStruct.Speed = GPIO_SPEED_FREQ_VERY_HIGH;
  HAL_GPIO_Init(SPI1_NSS_GPIO_Port, &GPIO_InitStruct);

  /*Configure GPIO pin : SPI_RST_Pin */
  GPIO_InitStruct.Pin = SPI_RST_Pin;
  GPIO_InitStruct.Mode = GPIO_MODE_OUTPUT_PP;
  GPIO_InitStruct.Pull = GPIO_NOPULL;
  GPIO_InitStruct.Speed = GPIO_SPEED_FREQ_VERY_HIGH;
  HAL_GPIO_Init(SPI_RST_GPIO_Port, &GPIO_InitStruct);

  /*Configure GPIO pin : WiFi_EN_Pin */
  GPIO_InitStruct.Pin = WiFi_EN_Pin;
  GPIO_InitStruct.Mode = GPIO_MODE_OUTPUT_PP;
  GPIO_InitStruct.Pull = GPIO_NOPULL;
  GPIO_InitStruct.Speed = GPIO_SPEED_FREQ_LOW;
  HAL_GPIO_Init(WiFi_EN_GPIO_Port, &GPIO_InitStruct);

}

/* USER CODE BEGIN 4 */

int ITM0_Write( char *ptr, int len)
{
 int DataIdx;

  for(DataIdx=0; DataIdx<len; DataIdx++)
  {
    ITM_SendChar(*ptr++);
  }
  return len;
}

void SysTick_Handler(void)
{
  /* USER CODE BEGIN SysTick_IRQn 0 */
	unsigned char text[512];
	int ns=0;
	ms_ticks++;	//100 ms

	if(wf._estado_conexion!=ESPstate)
	{
		ESPstate=wf._estado_conexion;
		ns=INTOA(ESPstate,text);
		HAL_UART_Transmit_IT(&huart2,&text,ns);

	}

	ESP_ticks++;
	if(mb_eth._w_answer) MB_TOUT_ticks++;
	if ( mb_eth._w_answer && (mb_eth._timeout < MB_TOUT_ticks))
		{
			mb_eth._w_answer=0;
			MB_TOUT_ticks=0;
		}

// ENVIO DATOS LoRa ---------------------------------------------------------------//

/*	if(lr.tmr_dly_en==1)
	{
		lr.tmr_dlyCNT++;
		if(lr.tmr_dlyCNT > lr.tmr_dly)
		{
			lr.tmr_dly_ON=1;
			lr.tmr_dly_en=0;
		}
	}*/
// ENVIO DATOS LoRa ---------------------------------------------------------------//
// ENVIO DATOS WF ---------------------------------------------------------------//

	if((wf._estado_conexion==609 || wf._estado_conexion==700)&&(wf._TCP_Local_Server_EN==0))  wf_snd_flag_ticks++;

	if(wf_snd_flag_ticks>= 5000 && wf._ejecucion!=1 && wf._TCP_Local_Server_EN==0)		 	  WF_SND_FLAG=1;					//230517 wf_snd_flag_ticks>= 2000

// ENVIO DATOS WF ----------------------------------- ---------------------------//

/**********************[ INICIO - EHTERNET WDG ] **********************/

	if(ETH.S_status == 0)
	{
		ETH.ETH_WDG++;
		if (ETH.ETH_WDG>=64000)
		{
			eth_reset=1;
			ETH.ETH_WDG=64000;
		}
	}

/**********************[ FIN 	- EHTERNET WDG ] **********************/

if (ms_ticks==100)//(ms_ticks==250)//(ms_ticks==50)
  {
	  dbgn++;
	  ms_ticks=0;
	  min_ticks++;

	  	if(MBUS_ticks==360) MBUS_ticks=0;

	  	if (asc==0)  MBUS_ticks++;
	  	if (MBUS_ticks==100) asc=1;
	  	if (asc==1) MBUS_ticks--;
	  	if (MBUS_ticks==0) asc=0;

	  //HAL_GPIO_TogglePin(GPIOC, GPIO_PIN_13);
	  if(spi_no_debug)
	  	  {
	  if(SPI_READ_EN)
	  {
	     ETH.S_status=eth_rd_SOCKET_STAT(&ETH,S0_REG);  //este era el bardo

		  switch(ETH.S_status)	//Check Socket status
	     {
			 case SOCK_CLOSED :
				 {
					 if (ETH_DBG_EN) ITM0_Write("\r\nS0_SOCK_CLOSED \r\n",strlen("\r\nS0_SOCK_CLOSED \r\n"));
					 //if (ETH_DBG_SER_EN) HAL_UART_Transmit_IT(&huart2,"\r\n S0_SOCK_CLOSED \r\n",strlen("\r\n S0_SOCK_CLOSED \r\n"));
					 //eth_wr_SOCKET_CMD(&ETH, S0_REG ,OPEN );
					 if(ETH.ETH_WDG >= 15000)
					 {
						  eth_reset=1;
						 //ETH.ETH_WDG=1;
					 }

				 }
			 break;
			 case  SOCK_INIT :
				 {
					 if (ETH_DBG_EN) ITM0_Write("\r\nS0_SOCK_INIT \r\n",strlen("\r\nS0_SOCK_INIT \r\n"));
					 if(ETH.S_ENserver == 1)
					 {
						 if (ETH_DBG_EN) ITM0_Write("\r\nS0_SOCK_INIT \r\n",strlen("\r\nS0_SOCK_INIT \r\n"));
						 if (ETH_DBG_SER_EN) HAL_UART_Transmit_IT(&huart2,"\r\n S0_SOCK_INIT \r\n",strlen("\r\n S0_SOCK_INIT \r\n"));
							eth_wr_SOCKET_CMD(&ETH, S0_REG, LISTEN );
							ETH.ETH_WDG=0;
					 }
					 else
					 {

						    eth_wr_SOCKET_CMD(&ETH,S0_REG, CONNECT);																				//only for server
						 	if (ETH_DBG_EN)ITM0_Write("\r\nETH-W5500-CONNECT\r\n",strlen("\r\nETH-W5500-CONNECT\r\n"));
						 	if (ETH_DBG_SER_EN) HAL_UART_Transmit_IT(&huart2,"\r\n ETH-W5500-CONNECT \r\n",strlen("\r\n ETH-W5500-CONNECT \r\n"));
						 	ETH.ETH_WDG=0;
					 }

				 }
			 break;
			 case SOCK_LISTEN :
				 {
					 if (ETH_DBG_EN)ITM0_Write("\r\nS0_SOCK_LISTEN \r\n",strlen("\r\nS0_SOCK_LISTEN \r\n"));
					 if (ETH_DBG_SER_EN) HAL_UART_Transmit_IT(&huart2,"\r\n S0_SOCK_LISTEN \r\n",strlen("\r\n S0_SOCK_LISTEN \r\n"));
					 ETH.ETH_WDG=0;
				 }
			 break;
			 case SOCK_SYNSENT :
				 {
					 if (ETH_DBG_EN)ITM0_Write("\r\nS0_SOCK_SYNSENT \r\n",strlen("\r\nS0_SOCK_SYNSENT \r\n"));
					 if (ETH_DBG_SER_EN) HAL_UART_Transmit_IT(&huart2,"\r\n S0_SOCK_SYNSENT \r\n",strlen("\r\n S0_SOCK_SYNSENT \r\n"));
					 ETH.ETH_WDG=0;
				 }
			 break;
			 case SOCK_SYNRECV :
				 {
					 if (ETH_DBG_EN)ITM0_Write("\r\nS0_SOCK_SYNRECV \r\n",strlen("\r\nS0_SOCK_SYNRECV \r\n"));
					 if (ETH_DBG_SER_EN) HAL_UART_Transmit_IT(&huart2,"\r\n S0_SOCK_SYNRECV \r\n",strlen("\r\n S0_SOCK_SYNRECV \r\n"));
					 ETH.ETH_WDG=0;
				 }
			 break;
			 case SOCK_ESTABLISHED :
				 {
					 if (ETH_DBG_EN)ITM0_Write("\r\nS0_SOCK_ESTABLISHED \r\n",strlen("\r\nS0_SOCK_ESTABLISHED \r\n"));
					 //if (ETH_DBG_SER_EN) HAL_UART_Transmit_IT(&huart2,"\r\n S0_SOCK_ESTABLISHED \r\n",strlen("\r\n S0_SOCK_ESTABLISHED \r\n"));
					 ETH.ETH_WDG=0;

					if (ETH.S_ENserver == 1)  // Si el puerto Ethernet actúa como server (Recibe datos conexión mas pedido mbus
					{

						S0_get_size = SPI_ETH_REG(&ETH, S_RX_RSR ,S0_REG, SPI_READ, spi_Data,2);//S0_get_size = SPI_ETH_REG(&ETH, S_RX_SZ_ADDR_BASEHH,S_RX_SZ_ADDR_BASEHL ,SPI_READ, spi_Data,2);
							if(S0_get_size != 0x00)
							{
								eth_rd_SOCKET_DATA(&ETH,S0_RX_BUFF,&rx_mem_pointer,S0_get_size); // read socket data
								SPI_ETH_WR_REG_16(&ETH,S_RX_RD0,rx_mem_pointer,S0_REG );		// write rx memory pointer
								eth_wr_SOCKET_CMD(&ETH,S0_REG,RECV);							// write command to execute
								while(eth_rd_SOCKET_CMD(&ETH,S0_REG))						// wait until end of command execution
								{}

								CopiaVector(mb_eth._MBUS_RCVD, ETH.data, S0_get_size, 0, 0 );
								mb_eth._n_MBUS_RCVD=S0_get_size;

								if(S0_get_size > 0)	{ ETH.S_data_available=1;}					//Flag data received

								if(ModBUS_Check(mb_eth._MBUS_RCVD, mb_eth._n_MBUS_RCVD))		//Ckecks ModBUS type data
								{
									ModBUS(&mb_eth);										//ModBUS protocol execution
									CopiaVector(ETH.data, mb_eth._MBUS_2SND, mb_eth._n_MBUS_2SND, 0, 0);
								}
								else
								{
									if (ETH_DBG_EN) ITM0_Write("\r\n NO MBUS \r\n",strlen("\r\n\r\n NO MBUS \r\n\r\n"));
									if (ETH_DBG_SER_EN) HAL_UART_Transmit_IT(&huart2,"\r\n NO MBUS \r\n",strlen("\r\n NO MBUS \r\n"));
								}

								send_size=mb_eth._n_MBUS_2SND;  //ModBUS data qty

								eth_wr_SOCKET_DATA(&ETH,S0_RX_BUFF, &tx_mem_pointer, send_size);	// write socket data

								SPI_ETH_WR_REG_16(&ETH,S_TX_WR,tx_mem_pointer,S0_REG);			// write tx memory pointer//SPI_ETH_WR_REG_16(&ETH,0x424,tx_mem_pointer,0);			// write tx memory pointer
								eth_wr_SOCKET_CMD(&ETH,S0_REG,SEND);							// write command to execute
								while(eth_rd_SOCKET_CMD(&ETH,S0_REG))						// wait until end of command execution
								{}

							}
					}
					else	// Puerto ethernet labura como esclavo, se conecta al server para pedir datos
					{

						if (mb_eth._w_answer==0)
						{
							//Si ya envié vuelvo a enviar

							ETH.data[0]=0x00;
							ETH.data[1]=0x00;
							ETH.data[2]=0x00;
							ETH.data[3]=0x00;
							ETH.data[4]=0x00;
							ETH.data[5]=0x06;
							ETH.data[6]=0x01;
							ETH.data[7]=0x03;
							ETH.data[8]=0x00;
							ETH.data[9]=0x00;
							ETH.data[10]=0x00;
							ETH.data[11]=0x0A;
							send_size=12;

							ModBUS_F03_Request(&mb_eth,0,16);
							CopiaVector(ETH.data, mb_eth._MBUS_2SND, 12, 0, 0 );

							eth_wr_SOCKET_DATA(&ETH,S0_TX_BUFF, &tx_mem_pointer, send_size);	// write socket data
						   	 SPI_ETH_SNIFF(&ETH_SPY, &ETH);
							SPI_ETH_WR_REG_16(&ETH,S_TX_WR,tx_mem_pointer,S0_REG);			// write tx memory pointer
						   	 SPI_ETH_SNIFF(&ETH_SPY, &ETH);
							eth_wr_SOCKET_CMD(&ETH,S0_REG,SEND);							// write command to execute
						   	 SPI_ETH_SNIFF(&ETH_SPY, &ETH);
							uint16_t read=0;
							//while(read != 16)//while(eth_rd_SOCKET_CMD(&ETH,0))						// wait until end of command execution
							//{
								read=SPI_ETH_REG(&ETH, S_IR,S0_REG,SPI_READ, ETH.GAR,1);
							//}

							mb_eth._w_answer=1;	// Waiting answer flag_w_answer=1;	// Waiting answer flag
							MB_TOUT_ticks=0;	// restart counting
							if (ETH_DBG_EN) ITM0_Write("\r\n SENT MBUS REQ \r\n",strlen("\r\n\r\n SENT MBUS REQ \r\n\r\n"));
							if (ETH_DBG_SER_EN) HAL_UART_Transmit_IT(&huart2,"\r\n SENT MBUS REQ \r\n",strlen("\r\n SENT MBUS REQ \r\n"));
						}
						else
						{
						S0_get_size = SPI_ETH_REG(&ETH, S_RX_RSR ,S0_REG ,SPI_READ, spi_Data,2);
						//_w_answer=0;	// Waiting answer flag
						if(S0_get_size != 0x00)
							{
								eth_rd_SOCKET_DATA(&ETH,S0_RX_BUFF,&rx_mem_pointer,S0_get_size); // read socket data
								SPI_ETH_WR_REG_16(&ETH,S_RX_RD0,rx_mem_pointer,S0_REG);		// write rx memory pointer
								eth_wr_SOCKET_CMD(&ETH,S0_REG,RECV);							// write command to execute
								/*while(eth_rd_SOCKET_CMD(&ETH,S0_REG))						// wait until end of command execution
								{}*/
								if (ETH_DBG_EN) ITM0_Write("\r\n RCVD DATA \r\n",strlen("\r\n RCVD DATA \r\n"));
								if (ETH_DBG_SER_EN) HAL_UART_Transmit_IT(&huart2,"\r\n RCVD DATA \r\n",strlen("\r\n RCVD DATA \r\n"));
								CopiaVector(mb_eth._MBUS_RCVD, ETH.data, S0_get_size, 0, 0 );
								mb_eth._n_MBUS_RCVD=S0_get_size;

								if(S0_get_size > 0)	{ ETH.S_data_available=1;}

								if(ModBUS_Check(mb_eth._MBUS_RCVD, mb_eth._n_MBUS_RCVD))		//Ckecks ModBUS type data
									{
										mb_eth._w_answer=0;  									//Si el mensaje recibido ya es modbus digo que ya recibi
										MB_TOUT_ticks=0;
										ModBUS(&mb_eth);										//ModBUS protocol execution
										//CopiaVector(ETH.data, mb_eth._MBUS_2SND, mb_eth._n_MBUS_2SND, 0, 0);
										CopiaVector(ETH.swap, mb_eth._MBUS_RCVD, mb_eth._n_MBUS_RCVD, 0, 0);
										CopiaVector(mb_wf._Holding_Registers, mb_eth._Holding_Registers, 64, 0, 0);
										if (ETH_DBG_EN) ITM0_Write("\r\n RCVD MBUS REQ \r\n",strlen("\r\n\ RCVD MBUS REQ \r\n"));
										if (ETH_DBG_SER_EN) HAL_UART_Transmit_IT(&huart2,"\r\n RCVD MBUS REQ \r\n",strlen("\r\n RCVD MBUS REQ \r\n"));
									}
									else
										{
										if (ETH_DBG_EN) ITM0_Write("\r\n NO MBUS \r\n",strlen("\r\n NO MBUS \r\n"));
										if (ETH_DBG_SER_EN) HAL_UART_Transmit_IT(&huart2,"\r\n NO MBUS \r\n",strlen("\r\n NO MBUS \r\n"));
										}

							}
						}
					}
				 }
			 break;
			 case SOCK_FIN_WAIT :
				 {
					 if (ETH_DBG_EN) ITM0_Write("\r\nS0_SOCK_FIN_WAIT \r\n",strlen("\r\nS0_SOCK_FIN_WAIT \r\n"));
					 if (ETH_DBG_SER_EN) HAL_UART_Transmit_IT(&huart2,"\r\n S0_SOCK_FIN_WAIT \r\n",strlen("\r\n S0_SOCK_FIN_WAIT \r\n"));
					 ETH.ETH_WDG=0;
				 }
			 break;
			 case SOCK_CLOSING :
				 {
					 if (ETH_DBG_EN) ITM0_Write("\r\nS0_SOCK_CLOSING \r\n",strlen("\r\nS0_SOCK_CLOSING \r\n"));
					 if (ETH_DBG_SER_EN) HAL_UART_Transmit_IT(&huart2,"\r\n S0_SOCK_CLOSING \r\n",strlen("\r\n S0_SOCK_CLOSING \r\n"));
					 ETH.ETH_WDG=0;
				 }
			 break;
			 case  SOCK_TIME_WAIT :
				 {
					 if (ETH_DBG_EN) ITM0_Write("\r\nS0_SOCK_TIME_WAIT \r\n",strlen("\r\nS0_SOCK_TIME_WAIT \r\n"));
					 if (ETH_DBG_SER_EN) HAL_UART_Transmit_IT(&huart2,"\r\n nS0_SOCK_TIME_WAIT \r\n",strlen("\r\n nS0_SOCK_TIME_WAIT \r\n"));
					eth_wr_SOCKET_CMD(&ETH,S0_REG, DISCON );
					while( SPI_ETH_REG(&ETH,S_CR ,S0_REG,SPI_READ, spi_Data,1))//while( SPI_ETH_REG(&ETH, S_CR_ADDR_BASEH,S_CR_ADDR_BASEL ,SPI_READ, spi_Data,1))
					{}
					ETH.ETH_WDG=0;
				 }
			 break;
			 case SOCK_CLOSE_WAIT :
				 {
					 if (ETH_DBG_EN) ITM0_Write("\r\nS0_SOCK_CLOSE_WAIT \r\n",strlen("\r\nS0_SOCK_CLOSE_WAIT \r\n"));
					 if (ETH_DBG_SER_EN) HAL_UART_Transmit_IT(&huart2,"\r\n S0_SOCK_CLOSE_WAIT \r\n",strlen("\r\n S0_SOCK_CLOSE_WAIT \r\n"));
					eth_wr_SOCKET_CMD(&ETH,S0_REG,DISCON );
					while( SPI_ETH_REG(&ETH,S_CR,S0_REG,SPI_READ, spi_Data,1))
					{}
					ETH.ETH_WDG=0;
				 }
			 break;
			 case SOCK_LAST_ACK :
				 {
					 if (ETH_DBG_EN) ITM0_Write("\r\n S0_SOCK_LAST_ACK \r\n",strlen("\r\n S0_SOCK_LAST_ACK \r\n"));
					 if (ETH_DBG_SER_EN) HAL_UART_Transmit_IT(&huart2,"\r\n S0_SOCK_LAST_ACK \r\n",strlen("\r\n S0_SOCK_LAST_ACK \r\n"));
					 ETH.ETH_WDG=0;
				 }
			 break;
			 case SOCK_UDP :
				 {
					 if (ETH_DBG_EN) ITM0_Write("\r\n S0_SOCK_UDP \r\n",strlen("\r\n S0_SOCK_UDP \r\n"));
					 if (ETH_DBG_SER_EN) HAL_UART_Transmit_IT(&huart2,"\r\n S0_SOCK_UDP \r\n",strlen("\r\n S0_SOCK_UDP \r\n"));
					 ETH.ETH_WDG=0;
				 }
			 break;
			 case  SOCK_IPRAW :
				 {
					 if (ETH_DBG_EN) ITM0_Write("\r\n S0_SOCK_IPRAW \r\n",strlen("\r\n S0_SOCK_IPRAW \r\n"));
					 if (ETH_DBG_SER_EN) HAL_UART_Transmit_IT(&huart2,"\r\n S0_SOCK_IPRAW \r\n",strlen("\r\n S0_SOCK_IPRAW \r\n"));
					 ETH.ETH_WDG=0;
				 }
			 break;
			 case  SOCK_MACRAW :
				 {
					 if (ETH_DBG_EN) ITM0_Write("\r\n S0_SOCK_MACRAW \r\n",strlen("\r\n S0_SOCK_MACRAW \r\n"));
					 if (ETH_DBG_SER_EN) HAL_UART_Transmit_IT(&huart2,"\r\n S0_SOCK_MACRAW \r\n",strlen("\r\n S0_SOCK_MACRAW \r\n"));
					 ETH.ETH_WDG=0;
				 }
			 break;
			 case SOCK_PPOE :
				 {
					 if (ETH_DBG_EN) ITM0_Write("\r\n S0_SOCK_PPOE \r\n",strlen("\r\n S0_SOCK_PPOE \r\n"));
					 if (ETH_DBG_SER_EN) HAL_UART_Transmit_IT(&huart2,"\r\n S0_SOCK_PPOE \r\n",strlen("\r\n S0_SOCK_UDP \r\n"));
					 ETH.ETH_WDG=0;
				 }
			 break;

			 default:
				 {

				 }
	     }
	  }
	  }else
	  	  {
		  //ETH.operacion=SPI_READ;
		  //ETH.TX[3]=0x00;
		  SPI_ETH(&ETH);
	  	  }
	  if(min_ticks==2)//if(min_ticks==10)
		  {
		  	  min_ticks=0;  /* SETEO CADA 2 min*/
		  }
  }

if(EN_USART1_TMR==1) USART1_ticks++;

if(USART1_ticks>=2)//if(USART1_ticks>=10)
{
	USART1_ticks=0;
	FLAG_USART1=1;
	EN_USART1_TMR=0;
	items_rx=uart1pass;
	uart1pass=0;
}

  /* USER CODE END SysTick_IRQn 0 */
  HAL_IncTick();
  /* USER CODE BEGIN SysTick_IRQn 1 */
	if(wf._estado_conexion==4)//if((wf._estado_conexion!=1)&&(wf._estado_conexion!=2)&&(resultado!=20)&&(resultado!=24)) //Solo cuento cuando no estahaciendo otra cosa
	{
		ticks++;
	}
	else
	{
		ticks=0;
	}

	if(wf._ejecucion==1)
		{
			if (FLAG_TIMEOUT!=1)
			{
				if(wf._instruccion!=2) wf._ticks++;//-----------------------Solo cuento una vez reconcido el timeout, cuando entro al timeout no cuento
				if(wf._instruccion==2) wf._ticks2++;
			}

			if ((wf._instruccion!=2)&&(wf._ticks > 5500)) //if (wf._ticks > 5000)
			{
				FLAG_TIMEOUT=1;
				if(huart1.Instance->CR1 == 0x200C)  //--------------------Evito error UART colgado
				{
					HAL_UART_Receive_IT(&huart1,(uint8_t *)UART_RX_byte,1);
					EN_UART1_TMR=0; //OBS-VER Para que me vuelva a habilitar el timer
				}
				//wf._ticks=0;
			}
			if ((wf._instruccion==2)&&(wf._ticks2 > 20500)) //if (wf._ticks > 5000)
			{
				FLAG_TIMEOUT=1;
				if(huart1.Instance->CR1 == 0x200C)  //--------------------Evito error UART colgado
				{
					HAL_UART_Receive_IT(&huart1,(uint8_t *)UART_RX_byte,1);
					EN_UART1_TMR=0; //OBS-VER Para que me vuelva a habilitar el timer
				}
				//wf._ticks=0;
			}

		}
		else
		{
			wf._ticks=0;
		}
  /* USER CODE END SysTick_IRQn 1 */
}
void HAL_UART_ErrorCallback(UART_HandleTypeDef *ERRUART)

{
	if(ERRUART->Instance==USART1)
	{
		 volatile int aore=0;
		 volatile int bore=0;

		// if ( UART_FLAG_ORE == HAL_UART_GetError(huart1))
		//{
		//Al leer los registros de esta forma SR y luego DR se resetean los errores de Framing Noise y Overrun FE NE ORE
		//}
			 wf._debug_count9++;
			aore=ERRUART->Instance->SR;
			bore=ERRUART->Instance->DR;

		 HAL_UART_Transmit_IT(&huart2,"\r\n ERROR HW UARRT1 \r\n",strlen("\r\n ERROR HW UARRT1 \r\n"));
		 HAL_UART_DeInit(ERRUART);
		 MX_USART1_UART_Init();
		 HAL_UART_Receive_IT(ERRUART,(uint8_t *)UART_RX_byte,1);
	}
	if(ERRUART->Instance==USART2)
	{
		 volatile int aore=0;
		 volatile int bore=0;

		// if ( UART_FLAG_ORE == HAL_UART_GetError(huart1))
		//{
		//Al leer los registros de esta forma SR y luego DR se resetean los errores de Framing Noise y Overrun FE NE ORE
		//}
			 wf._debug_count9++;
			aore=ERRUART->Instance->SR;
			bore=ERRUART->Instance->DR;

		//HAL_UART_Transmit_IT(&huart5,"U4",strlen("U4"));
		 HAL_UART_DeInit(ERRUART);
		 MX_USART2_UART_Init();
		 HAL_UART_Receive_IT(ERRUART,(uint8_t *)UART_RX_byte,1);
	}
}

void HAL_TIM_ErrorCallback(TIM_HandleTypeDef *htim2)
{

		wf._debug_count10++;

}

void HAL_UART_RxCpltCallback(UART_HandleTypeDef *INTSERIE)
{

// WiFi	USART 1 TIMER2
	if(INTSERIE->Instance==USART1)
		 {
			UART_RX_vect[UART_RX_pos]=UART_RX_byte[0];
			UART_RX_pos++;
			if(UART_RX_pos>=512) UART_RX_pos=512;
			HAL_TIM_OC_Start_IT(&htim2, TIM_CHANNEL_1);//HAL_TIM_Base_Start_IT(&htim7);	//Habilito el timer
			TIM2->CNT=1;
			EN_UART1_TMR=1;	//Habilito Timeout de software
			HAL_UART_Receive_IT(INTSERIE,(uint8_t *)UART_RX_byte,1);
		 }
 }

void HAL_TIM_OC_DelayElapsedCallback(TIM_HandleTypeDef *TIMER)
{

		if(TIMER->Instance==TIM2)
			{
				 HAL_TIM_OC_Stop_IT(TIMER, TIM_CHANNEL_1); //Paro el timer
				 FLAG_UART1=1;
				 EN_UART1_TMR=0;
				 UART_RX_items=UART_RX_pos;
				 UART_RX_pos=0;
				 UART_RX_vect[512]='\0'; //Finalizo el vector a la fuerza ya que recibo hasta 124
				 CopiaVector(UART_RX_vect_hld,UART_RX_vect,UART_RX_items,1,CMP_VECT);
				 HAL_UART_Receive_IT(&huart1,(uint8_t *)UART_RX_byte,1); //Habilito le recepcón de puerto serie al terminar
				 if (wf._DBG_EN==1)
				 {
					 ITM0_Write((uint8_t *)UART_RX_vect_hld,UART_RX_items);
				 }
		}
}

uint8_t ESP8266_HW_Init(UART_HandleTypeDef *SerialPort) //Devuelve 1 si reinició OK, y 0 si no
{
	  do{
		  HAL_UART_Transmit(SerialPort, "AT+RESTORE\r\n",strlen("AT+RESTORE\r\n"),100);
		  HAL_Delay(500);

		  wf._n_fcomp=strlen("ready");
		  wf._n_orig=UART_RX_items;

		  while(FT_String_ND(UART_RX_vect_hld,&wf._n_orig,"ready",&wf._n_fcomp,wf._uartRCVD_tok,&wf._n_tok,&ntestc,&wf._id_conn,510,FIND)!=1)
		  {
			  	  wf._n_orig=UART_RX_items;
			  	  if (ESP_ticks>=5000)
			  		 {
			  		 ESP_InitF=1;
			  		 break;
			  		 }
		  }

		  if(ESP_InitF==0)	//Si encontró la sentencia anterior analizo la siguiente
		  {
			  wf._n_fcomp=strlen("ready");
			  wf._n_orig=UART_RX_items;
			  while(FT_String_ND(UART_RX_vect_hld,&wf._n_orig,"ready",&wf._n_fcomp,wf._uartRCVD_tok,&wf._n_tok,&ntestc,&wf._id_conn,510,FIND)!=1)
			  {
				  wf._n_orig=UART_RX_items;
				  if (ESP_ticks>=5000)
					 {
					 break;
					 }
			  }
		  }

		  if (ESP_ticks<5000)
		  {
			  ESP_REinit=10;
			  ESP_ticks=0;
		  }
		  else
		  {
			  ESP_REinit++;
			  ESP_ticks=0;
		  }

	  } while (ESP_REinit<=5);

	  if(ESP_REinit==10)
	  {
		  return(1);
	  }
	  else
	  {
		  return(0);
	  }
}
void BorrarVect(void)
{
	wf._uartRCVD[0]='\0';
	wf._uartRCVD[1]='\0';
	wf._n_orig=2;
}

/* USER CODE END 4 */

void Error_Handler(void)
{
  __disable_irq();
  while (1)
  {
  }
}
